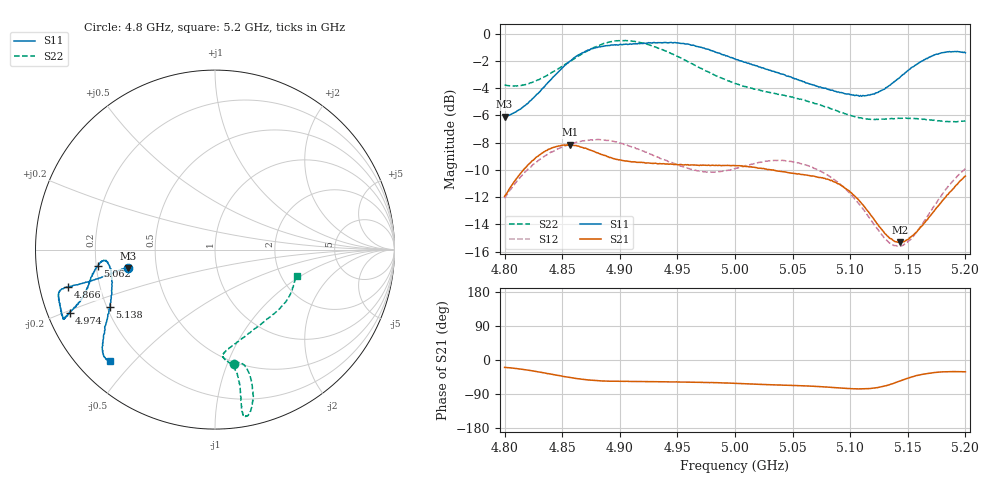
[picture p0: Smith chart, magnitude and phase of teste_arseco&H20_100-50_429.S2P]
! Network Analyzer HP8722D
! Hewlett-Packard
! Data name: Linha & Wilkinson
! Saver's name: Rodrigo Anjos
! Comments: Teste da utilização de aquisição
! continua pelo VNA HP8722D
! Time and date: 6/5/2025 16:08
!  Frequency  S11  S21  S12  S22
# HZ  S  MA R 50
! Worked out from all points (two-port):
!   401 points, 4.8 GHz to 5.2 GHz, reference 50 ohm
!   highest |S21| = -8.14 dB at 4.857 GHz (marker M1); lowest = -15.3 dB at 5.143 GHz (marker M2)
!   |S21| within 3 dB of the highest: 4.806 GHz to 5.092 GHz (286.1 MHz wide, 5.78 % of centre); 5.191801 GHz to end of sweep
!   lowest |S11| = -6.1 dB at 4.8 GHz (marker M3), VSWR 2.97, Z = 17 - j4.65 ohm
!   |S11| at or under -10 dB: nowhere
!   |S22| runs from -6.5 to -0.5 dB; largest |S21 - S12| = 0.62
!   S11 on the Smith chart (normalised r, x): 4.8 GHz: 0.34, -0.09; 4.866 GHz: 0.09, -0.12; 4.974 GHz: 0.07, -0.21; 5.062 GHz: 0.21, -0.07; 5.138 GHz: 0.21, -0.24; 5.2 GHz: 0.09, -0.43
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4.8e9  0.4958 -168.0  0.2527 -19.6  0.2487 -140.8  0.6476 -80.4
4.828e9  0.5999 -166.9  0.3534 -30.6  0.3386 -144.8  0.6746 -75.4
4.857e9  0.7943 -165.7  0.3916 -46.3  0.3927 -150.2  0.7923 -74.8
4.866e9  0.8435 -165.8  0.3835 -50.2  0.4023 -151.7  0.8376 -75.3
4.867e9  0.849 -165.7  0.383 -50.8  0.4037 -151.9  0.8434 -75.3
4.88e9  0.8901 -165.3  0.3658 -54.5  0.4087 -154.1  0.9007 -76.7
4.899e9  0.91 -162.7  0.3438 -56.5  0.3985 -156.6  0.9438 -79.1
4.934e9  0.9277 -156.3  0.3331 -57.4  0.3509 -155.6  0.8834 -80.4
4.949e9  0.9265 -155.4  0.3312 -57.7  0.3313 -152.9  0.8298 -80.1
4.974e9  0.8826 -156.6  0.3285 -59.2  0.3115 -145.5  0.7337 -79.7
5e9  0.8086 -158.9  0.3277 -61.7  0.3201 -137.1  0.6566 -81.3
5.036e9  0.722 -165.5  0.3135 -65.9  0.3423 -134.3  0.6024 -85.7
5.062e9  0.6589 -172.1  0.3026 -68.5  0.3289 -136.2  0.5661 -83.8
5.067e9  0.6501 -172.8  0.3003 -69.1  0.3236 -136.7  0.5589 -82.6
5.087e9  0.6152 -174.3  0.2849 -73.0  0.2894 -138.5  0.5244 -74.9
5.103e9  0.5958 -171.3  0.2555 -76.1  0.2502 -138.6  0.4978 -65.2
5.134e9  0.6457 -154.1  0.1777 -65.4  0.1704 -120.7  0.4872 -43.3
5.138e9  0.6658 -151.6  0.1734 -61.1  0.1667 -115.5  0.4872 -40.8
5.143e9  0.6903 -149.1  0.1712 -55.8  0.1661 -108.9  0.4891 -38.0
5.154e9  0.7555 -144.3  0.1813 -44.4  0.1791 -94.9  0.4883 -32.4
5.174e9  0.8387 -138.4  0.2266 -32.8  0.2367 -80.2  0.4799 -23.9
5.2e9  0.8517 -133.4  0.3002 -31.2  0.3196 -76.8  0.4773 -17.6
